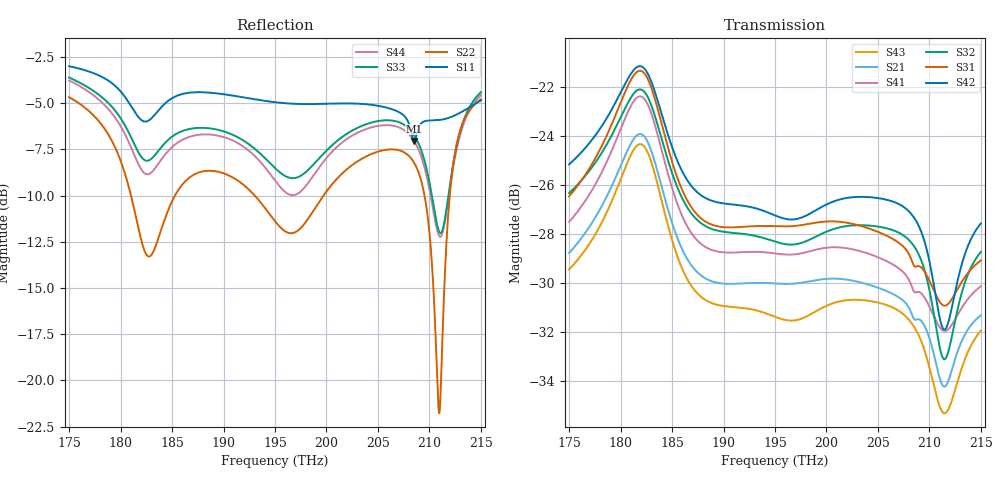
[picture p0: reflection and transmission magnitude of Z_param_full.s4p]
! Created Mon May 23 11:48:25 2022
# hz Z ri R 1
! 4 Port Network Data from SP1.SP block
! freq  reZ11  imZ11  reZ12  imZ12  reZ13  imZ13  reZ14  imZ14
!  reZ21  imZ21  reZ22  imZ22  reZ23  imZ23  reZ24  imZ24
!  reZ31  imZ31  reZ32  imZ32  reZ33  imZ33  reZ34  imZ34
!  reZ41  imZ41  reZ42  imZ42  reZ43  imZ43  reZ44  imZ44
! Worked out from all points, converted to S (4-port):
!   4001 points, 175 THz to 215 THz, reference 1 ohm
!   strongest paths, dB at 175 THz, 185 THz, 195 THz, 205 THz, 215 THz:
!     S42: -25.2, -24.4, -27.2, -26.5, -27.6
!     S31: -26.5, -25.0, -27.7, -27.9, -29.1
!     S32: -26.3, -25.5, -28.3, -27.7, -28.7
!     S41: -27.5, -26.1, -28.8, -28.9, -30.1
!     S21: -28.8, -27.5, -30.0, -30.2, -31.3
!     S43: -29.4, -28.2, -31.4, -30.8, -31.9
!   lowest |S11| = -7.0 dB at 208.5 THz (marker M1), VSWR 2.60, Z = 2.56 + j0.301 ohm
!   |S11| at or under -10 dB: nowhere
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1.75e14  3.508 -2.89  0.3196 -0.2057  0.4618 -0.3052  0.4012 -0.2686
         0.3196 -0.2057  1.605 -1.752  0.2657 -0.2249  0.2753 -0.241
         0.4618 -0.3052  0.2657 -0.2249  2.151 -2.351  0.2442 -0.2041
         0.4012 -0.2686  0.2753 -0.241  0.2442 -0.2041  1.993 -2.23
1.8273e14  3.022 -0.808  0.3487 -0.2202  0.5102 -0.3447  0.4475 -0.304
           0.3487 -0.2202  1.515 -0.3724  0.3156 -0.2143  0.3277 -0.2112
           0.5102 -0.3447  0.3156 -0.2143  2.162 -0.738  0.3017 -0.2464
           0.4475 -0.304  0.3277 -0.2112  0.3017 -0.2464  2.014 -0.6549
1.8817e14  3.927 -0.8074  0.2563 -0.1679  0.348 -0.2657  0.3088 -0.2326
           0.2563 -0.1679  2.177 -0.246  0.2373 -0.1573  0.2605 -0.1604
           0.348 -0.2657  0.2373 -0.1573  2.74 -0.6627  0.1912 -0.1661
           0.3088 -0.2326  0.2605 -0.1604  0.1912 -0.1661  2.635 -0.5786
2.0852e14  2.581 0.2739  0.1662 -0.073  0.2265 -0.0991  0.1992 -0.0856
           0.1662 -0.073  2.228 0.316  0.2284 -0.0911  0.2508 -0.0903
           0.2265 -0.0991  0.2284 -0.0911  2.698 0.2636  0.1804 -0.0851
           0.1992 -0.0856  0.2508 -0.0903  0.1804 -0.0851  2.571 0.3101
2.1095e14  2.772 0.8384  0.0881 -0.0231  0.1494 -0.0215  0.132 -0.0176
           0.0881 -0.0231  1.124 0.1211  0.0663 -0.0232  0.0744 -0.0239
           0.1494 -0.0215  0.0663 -0.0232  1.579 0.3129  0.064 -0.0169
           0.132 -0.0176  0.0744 -0.0239  0.064 -0.0169  1.535 0.3349
2.1232e14  2.684 1.078  0.0783 0.0412  0.1333 0.0534  0.1173 0.0471
           0.0783 0.0412  0.8293 0.7442  0.0498 0.0429  0.055 0.0477
           0.1333 0.0534  0.0498 0.0429  1.259 0.9073  0.05 0.0344
           0.1173 0.0471  0.055 0.0477  0.05 0.0344  1.224 0.8818
2.15e14  2.652 1.594  0.0965 0.1136  0.1507 0.1552  0.1309 0.1362
         0.0965 0.1136  0.9937 1.423  0.052 0.1333  0.0569 0.1449
         0.1507 0.1552  0.052 0.1333  1.35 1.737  0.0485 0.1105
         0.1309 0.1362  0.0569 0.1449  0.0485 0.1105  1.294 1.661
